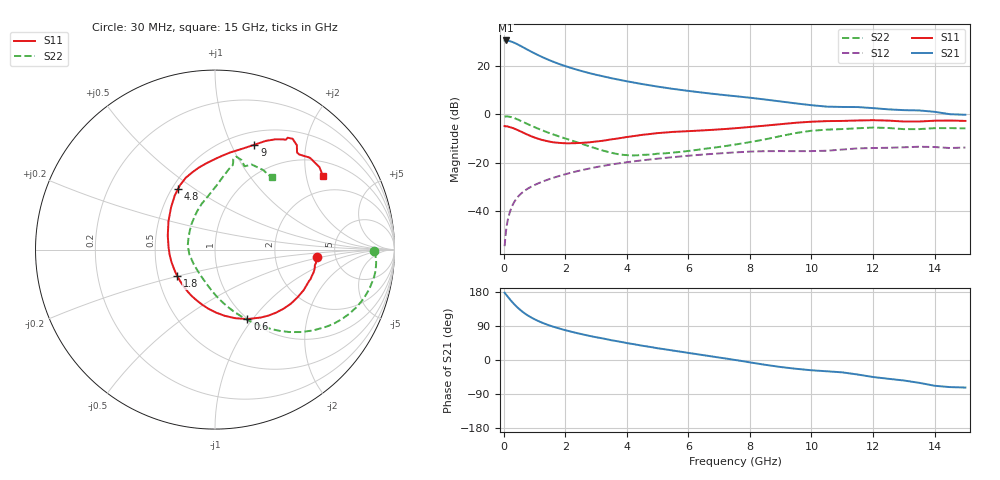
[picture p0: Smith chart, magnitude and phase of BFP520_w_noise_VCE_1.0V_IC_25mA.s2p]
! Infineon Technologies  Discrete & RF Semiconductors
! BFP520
! VCE =  1.0 V,  IC =  25 mA
! Common Emitter S-Parameters:  Oct 2015
# GHz  S  MA  R  50
!  f  S11  S21  S12  S22
! GHz  MAG  ANG  MAG  ANG  MAG  ANG  MAG  ANG
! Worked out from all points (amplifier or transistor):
!   109 points, 30 MHz to 15 GHz, reference 50 ohm
!   highest |S21| = 30.4 dB at 70 MHz (marker M1)
!   |S21| within 3 dB of that: start of sweep to 657.8 MHz
!   unconditionally stable (mu >= 1): start of sweep to 35.13 MHz; 2.37 GHz to end of sweep
!   at 450 MHz: K = 0.41, MSG = 31.5 dB, |S12| = -34.2 dB
!   at 4 GHz: K = 1.13, MAG = 14.5 dB, |S12| = -19.8 dB
!   at 15 GHz: K = 1.27, MAG = 3.6 dB, |S12| = -13.7 dB
!   lowest NFmin = 2.24 dB at 900 MHz
!   S11 on the Smith chart (normalised r, x): 30 MHz: 3.58, -0.45; 600 MHz: 1.00, -0.94; 1.8 GHz: 0.63, -0.20; 4.8 GHz: 0.54, +0.43; 9 GHz: 0.64, +1.23; 15 GHz: 1.42, +2.50
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0.03  0.5694 -4.3  33.21 177.6  0.0019 98.4  0.8851 -0.5
0.07  0.563 -8.8  33.27 173.2  0.0036 89.8  0.8995 -3.9
0.14  0.5569 -17.3  32.85 166.3  0.0069 84.0  0.8992 -9.8
0.2  0.5433 -24.5  32.17 160.3  0.0096 80.9  0.887 -14.5
0.3  0.5189 -35.6  30.61 150.9  0.0138 76.2  0.852 -22.0
0.4  0.4882 -46.2  28.68 142.4  0.0176 72.5  0.8068 -28.6
0.45  0.4729 -51.1  27.66 138.5  0.0194 70.9  0.7827 -31.6
0.6  0.4271 -65.0  24.67 128.1  0.0241 67.3  0.7083 -39.5
0.8  0.373 -81.6  21.03 116.7  0.0297 63.8  0.6181 -48.0
1  0.3317 -96.3  18.08 107.6  0.0346 61.6  0.5425 -54.7
1.1  0.3154 -103.0  16.81 103.7  0.037 60.8  0.5101 -57.6
1.4  0.2804 -122.3  13.75 93.8  0.044 58.6  0.4284 -65.5
1.8  0.2567 -145.3  10.91 83.3  0.0532 56.1  0.3488 -74.5
2.6  0.2587 177.6  7.57 66.9  0.0717 50.4  0.2383 -92.5
3.5  0.3035 148.7  5.538 52.1  0.0922 42.6  0.1606 -122.3
4.8  0.3944 121.6  3.9 33.9  0.1175 30.6  0.1482 178.5
5.1  0.4127 117.2  3.638 29.9  0.123 27.9  0.1544 167.7
7.6  0.5194 86.6  2.331 -0.9  0.1644 4.3  0.2414 113.0
9  0.624 69.4  1.834 -18.5  0.1738 -10.3  0.3549 88.9
10.5  0.7218 58.3  1.436 -29.8  0.1768 -18.7  0.4815 78.1
13  0.7082 49.8  1.215 -54.1  0.2082 -39.7  0.4932 70.6
15  0.7286 34.5  0.976 -72.7  0.2058 -56.0  0.511 51.9
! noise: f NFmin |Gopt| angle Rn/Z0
0.45  2.26  0.05  -41  0.28
0.9  2.24  0.05  -56  0.3
1.9  2.41  0.06  -76  0.3
2.4  2.41  0.09  -92  0.29
3.5  2.36  0.1  -92  0.31
